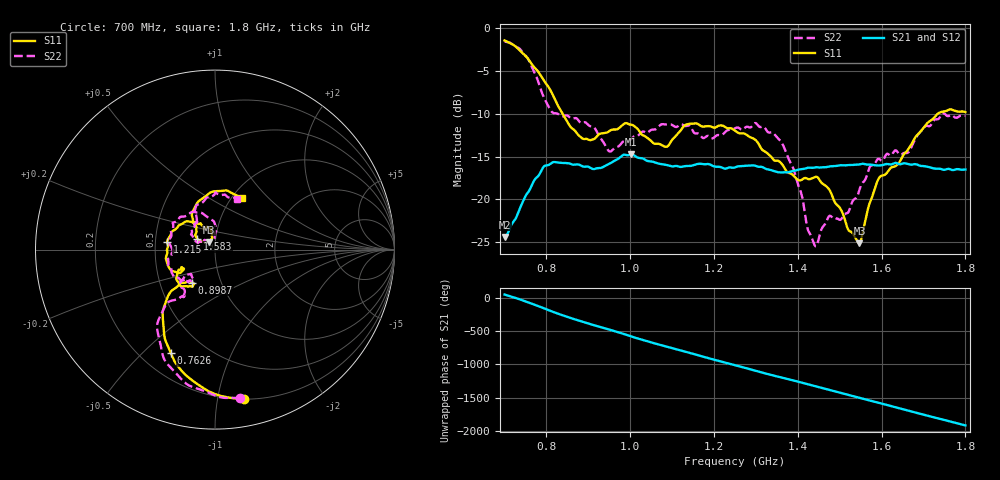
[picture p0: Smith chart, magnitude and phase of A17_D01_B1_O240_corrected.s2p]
! Created with skrf 1.9.0 (http://scikit-rf.org).
# Hz S RI R 50.0
!freq ReS11 ImS11 ReS21 ImS21 ReS12 ImS12 ReS22 ImS22
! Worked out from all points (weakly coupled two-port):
!   1601 points, 700 MHz to 1.8 GHz, reference 50 ohm
!   highest |S21| = -14.75 dB at 1.002 GHz (marker M1); lowest = -24.4 dB at 700 MHz (marker M2)
!   lowest |S11| = -25.2 dB at 1.547 GHz (marker M3), VSWR 1.12, Z = 46.5 + j4.04 ohm
!   |S11| at or under -10 dB: 838.4 MHz to 1.734 GHz (895.3 MHz wide, 69.6 % of centre)
!   |S22| runs from -25.5 to -1.5 dB; largest |S21 - S12| = 0.0036
!   S11 on the Smith chart (normalised r, x): 700 MHz: 0.20, -1.19; 762.6 MHz: 0.32, -0.61; 898.7 MHz: 0.73, -0.28; 1.215 GHz: 0.58, +0.06; 1.583 GHz: 0.82, +0.10; 1.8 GHz: 1.12, +0.71
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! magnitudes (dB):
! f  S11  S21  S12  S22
! 700 MHz  -1.4  -24.4  -24.2  -1.5
! 762.6 MHz  -4.1  -18.6  -18.6  -4.3
! 812.1 MHz  -7.5  -15.7  -15.7  -9.7
! 883.6 MHz  -12.8  -16.1  -16.0  -11.1
! 898.7 MHz  -13.0  -16.2  -16.2  -11.3
! 950.9 MHz  -12.0  -15.8  -15.8  -14.4
! 1.002 GHz  -11.3  -14.7  -14.9  -12.9
! 1.067 GHz  -13.5  -15.8  -15.8  -11.5
! 1.215 GHz  -11.4  -16.2  -16.2  -12.5
! 1.25 GHz  -12.0  -16.3  -16.2  -11.7
! 1.359 GHz  -15.7  -16.9  -16.9  -13.2
! 1.392 GHz  -17.4  -16.6  -16.6  -16.9
! 1.434 GHz  -17.6  -16.3  -16.3  -24.5
! 1.445 GHz  -17.4  -16.2  -16.3  -25.4
! 1.473 GHz  -18.7  -16.2  -16.2  -22.1
! 1.504 GHz  -21.3  -16.0  -16.0  -22.3
! 1.547 GHz  -25.2  -15.9  -15.9  -18.9
! 1.583 GHz  -18.8  -16.0  -16.0  -15.9
! 1.617 GHz  -16.6  -15.9  -15.9  -14.8
! 1.663 GHz  -14.2  -15.9  -15.9  -14.6
! 1.735 GHz  -10.0  -16.4  -16.5  -10.6
! 1.8 GHz  -9.8  -16.5  -16.5  -10.2
